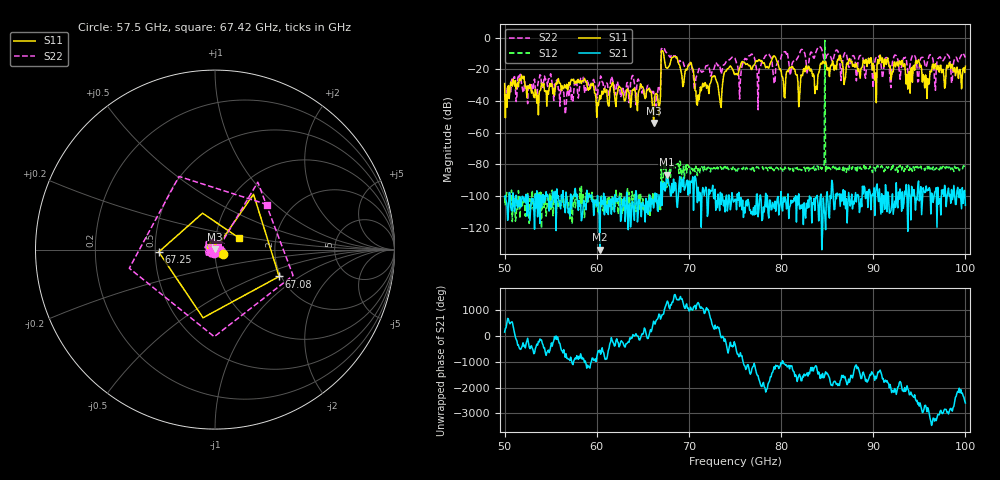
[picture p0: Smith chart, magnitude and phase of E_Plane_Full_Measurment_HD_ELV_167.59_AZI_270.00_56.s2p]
! 11/26/2026 3:45:26 PM
! C:\ANRITSUVNA\TEMP\TEMP.S2P
! CHANNEL.1
! TR.MEASUREMENT
! RAW.DATA
# HZ S RI R 50.0
! FREQ.HZ  S11RE  S11IM  S21RE  S21IM  S12RE  S12IM  S22RE  S22IM
!; PortSelection: Port_12
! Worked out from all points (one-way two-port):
!   601 points, 50 GHz to 100 GHz, reference 50 ohm
!   highest |S21| = -86.62 dB at 67.58 GHz (marker M1); lowest = -134.0 dB at 60.33 GHz (marker M2)
!   lowest |S11| = -53.8 dB at 66.17 GHz (marker M3), VSWR 1.00, Z = 50.1 + j0.151 ohm
!   |S11| at or under -10 dB: start of sweep to 67 GHz; 67.25 GHz to end of sweep
!   |S22| runs from -48.3 to -5.6 dB; largest |S21 - S12| = 0.82
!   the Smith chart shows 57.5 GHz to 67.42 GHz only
!   S11 on the Smith chart (normalised r, x): 57.5 GHz: 1.09, -0.05; 67.08 GHz: 1.95, -0.69; 67.25 GHz: 0.52, -0.02; 67.42 GHz: 1.29, +0.18
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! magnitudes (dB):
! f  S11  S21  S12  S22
! 50 GHz  -29.0  -100.5  -101.0  -35.6
! 57.5 GHz  -26.2  -100.2  -99.8  -34.6
! 58.42 GHz  -27.2  -113.5  -104.6  -24.8
! 60.33 GHz  -36.5  -134.0  -105.1  -27.2
! 66.17 GHz  -53.8  -107.6  -107.5  -34.0
! 66.67 GHz  -41.5  -109.7  -109.0  -31.6
! 67.08 GHz  -8.2  -105.9  -96.0  -6.8
! 67.25 GHz  -10.1  -95.9  -81.6  -6.2
! 67.42 GHz  -16.6  -96.9  -83.9  -8.3
! 67.58 GHz  -19.0  -86.6  -94.6  -9.5
! 70.25 GHz  -15.9  -90.7  -82.4  -18.8
! 70.92 GHz  -42.6  -104.2  -87.1  -23.2
! 75 GHz  -23.3  -102.0  -82.9  -12.9
! 79.25 GHz  -11.5  -107.8  -84.1  -28.9
! 80.25 GHz  -27.8  -100.9  -84.9  -9.3
! 83.42 GHz  -24.4  -104.3  -82.0  -10.8
! 84.5 GHz  -15.2  -123.0  -81.6  -9.2
! 91.67 GHz  -16.6  -100.1  -81.6  -15.2
! 93.75 GHz  -32.4  -122.4  -80.8  -21.3
! 94.83 GHz  -15.1  -93.8  -81.6  -27.9
! 95.83 GHz  -38.4  -96.8  -80.9  -16.5
! 100 GHz  -18.0  -105.9  -82.2  -12.6
